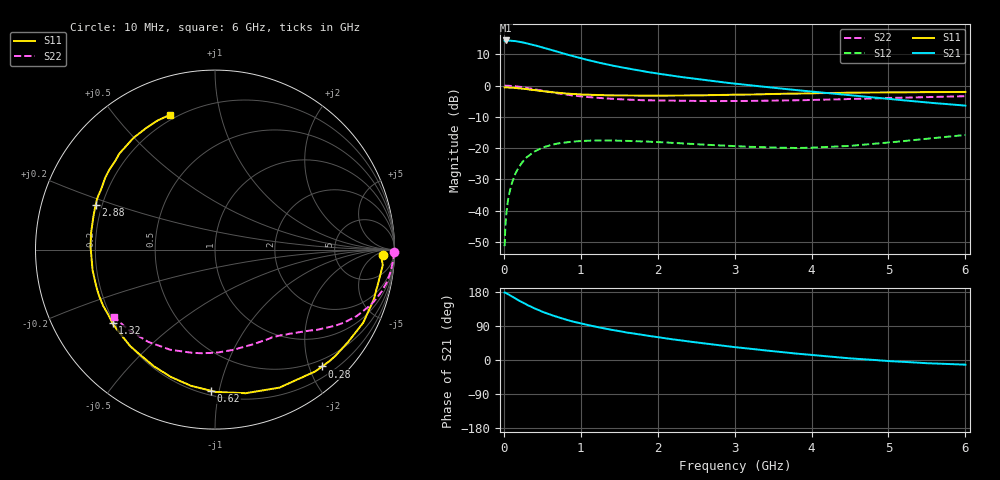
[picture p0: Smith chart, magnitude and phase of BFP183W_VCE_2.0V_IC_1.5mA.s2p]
! Infineon Technologies  Discrete & RF Semiconductors
! BFP183W
! VCE = 2.0 V,  IC =  1.5 mA
! Common Emitter S-Parameters:  Jan 2016
# GHz  S  MA  R  50
!  f  S11  S21  S12  S22
! GHz  MAG  ANG  MAG  ANG  MAG  ANG  MAG  ANG
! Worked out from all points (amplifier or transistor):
!   210 points, 10 MHz to 6 GHz, reference 50 ohm
!   highest |S21| = 14.4 dB at 30 MHz (marker M1)
!   |S21| within 3 dB of that: start of sweep to 612 MHz
!   unconditionally stable (mu >= 1): 2.5 GHz to end of sweep
!   at 185 MHz: K = 0.09, MSG = 20.3 dB, |S12| = -26.6 dB
!   at 1.52 GHz: K = 0.60, MSG = 11.8 dB, |S12| = -17.7 dB
!   at 6 GHz: K = 1.07, MAG = 3.1 dB, |S12| = -15.8 dB
!   S11 on the Smith chart (normalised r, x): 10 MHz: 25, -12; 280 MHz: 0.37, -2.22; 620 MHz: 0.23, -0.94; 1.32 GHz: 0.19, -0.31; 2.88 GHz: 0.18, +0.17; 6 GHz: 0.18, +0.71
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0.01  0.9368 -1.8  5.217 178.2  0.0027 91.2  0.9985 -0.7
0.02  0.9315 -3.6  5.259 177.7  0.0055 84.2  0.9946 -1.5
0.03  0.939 -5.3  5.271 176.7  0.0081 86.5  0.9959 -2.2
0.06  0.9291 -10.6  5.244 173.0  0.0161 83.5  0.992 -4.3
0.11  0.9241 -19.3  5.189 167.0  0.0288 78.2  0.9837 -7.8
0.15  0.9207 -26.3  5.146 162.2  0.0391 74.6  0.9746 -10.7
0.2  0.9028 -34.7  5.018 156.4  0.0505 69.5  0.9587 -13.9
0.28  0.8832 -47.5  4.792 148.0  0.0677 62.2  0.926 -18.8
0.4  0.8486 -65.0  4.43 136.1  0.0883 52.4  0.8724 -25.1
0.5  0.8181 -78.0  4.085 127.3  0.1016 45.7  0.8281 -29.3
0.62  0.7865 -91.7  3.707 118.5  0.1124 38.5  0.7799 -33.3
0.8  0.7508 -109.1  3.193 106.9  0.1233 30.3  0.7203 -38.4
0.9  0.7342 -117.5  2.962 101.3  0.1273 26.6  0.6934 -40.6
1.02  0.719 -125.9  2.694 95.7  0.13 22.5  0.6683 -43.2
1.32  0.7022 -144.4  2.208 82.8  0.1325 14.9  0.6243 -48.7
1.6  0.6953 -158.0  1.892 72.4  0.1307 10.3  0.5971 -53.5
2.02  0.6898 -174.7  1.545 59.7  0.1245 6.0  0.5762 -60.8
2.88  0.7096 159.6  1.118 37.1  0.1094 5.0  0.5659 -77.1
3.1  0.7165 154.0  1.043 31.9  0.1061 6.4  0.5677 -81.7
4.1  0.7568 133.0  0.782 11.7  0.1029 19.4  0.5908 -104.5
5.1  0.78 118.1  0.596 -3.8  0.1261 30.9  0.637 -128.1
6  0.7918 108.3  0.478 -12.3  0.1624 33.7  0.6765 -146.2
